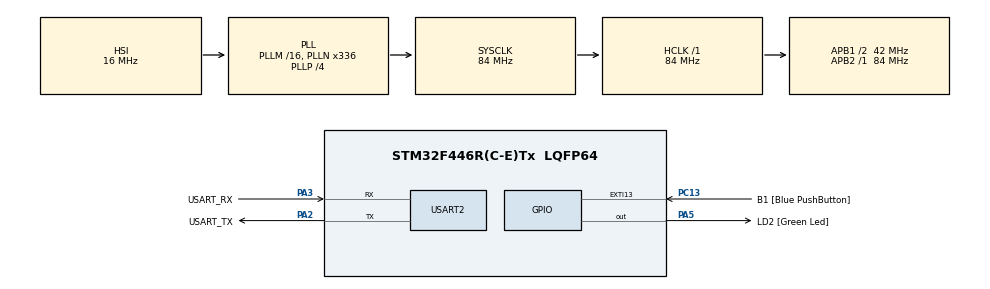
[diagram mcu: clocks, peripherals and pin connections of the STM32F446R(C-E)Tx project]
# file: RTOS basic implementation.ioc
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Dma.Request0=USART2_RX
Dma.Request1=USART2_TX
Dma.USART2_RX.0.Direction=DMA_PERIPH_TO_MEMORY
Dma.USART2_RX.0.FIFOMode=DMA_FIFOMODE_DISABLE
Dma.USART2_RX.0.Instance=DMA1_Stream5
Dma.USART2_RX.0.MemDataAlignment=DMA_MDATAALIGN_BYTE
Dma.USART2_RX.0.MemInc=DMA_MINC_ENABLE
Dma.USART2_RX.0.Mode=DMA_NORMAL
Dma.USART2_RX.0.PeriphDataAlignment=DMA_PDATAALIGN_BYTE
Dma.USART2_RX.0.PeriphInc=DMA_PINC_DISABLE
Dma.USART2_RX.0.Priority=DMA_PRIORITY_LOW
Dma.USART2_TX.1.Direction=DMA_MEMORY_TO_PERIPH
Dma.USART2_TX.1.FIFOMode=DMA_FIFOMODE_DISABLE
Dma.USART2_TX.1.Instance=DMA1_Stream6
Dma.USART2_TX.1.MemDataAlignment=DMA_MDATAALIGN_BYTE
Dma.USART2_TX.1.MemInc=DMA_MINC_ENABLE
Dma.USART2_TX.1.Mode=DMA_NORMAL
Dma.USART2_TX.1.PeriphDataAlignment=DMA_PDATAALIGN_BYTE
Dma.USART2_TX.1.PeriphInc=DMA_PINC_DISABLE
Dma.USART2_TX.1.Priority=DMA_PRIORITY_LOW
FREERTOS.Tasks01=defaultTask,24,128,StartDefaultTask,Default,NULL,Dynamic,NULL,NULL;UartTask,24,128,StartUartTask,Default,NULL,Dynamic,NULL,NULL;bootTask,40,128,StartBootTask,Default,NULL,Dynamic,NULL,NULL;idleTask,24,128,StartIdleTask,Default,NULL,Dynamic,NULL,NULL;ascentTask,24,128,StartAscentTask,Default,NULL,Dynamic,NULL,NULL;descentTask,24,128,StartDescentTask,Default,NULL,Dynamic,NULL,NULL;recoveryTask,24,128,StartRecoveryTask,Default,NULL,Dynamic,NULL,NULL
Mcu.Family=STM32F4
Mcu.Name=STM32F446R(C-E)Tx
Mcu.Package=LQFP64
NVIC.DMA1_Stream5_IRQn=true\:5\:0\:false\:false\:true\:true\:false\:true\:true
NVIC.DMA1_Stream6_IRQn=true\:5\:0\:false\:false\:true\:true\:false\:true\:true
NVIC.PriorityGroup=NVIC_PRIORITYGROUP_4
NVIC.USART2_IRQn=true\:5\:0\:false\:false\:true\:true\:true\:true\:true
PA13.GPIO_Label=TMS
PA13.Mode=Serial_Wire
PA13.Signal=SYS_JTMS-SWDIO
PA14.GPIO_Label=TCK
PA14.Mode=Serial_Wire
PA14.Signal=SYS_JTCK-SWCLK
PA2.GPIO_Label=USART_TX
PA2.Mode=Asynchronous
PA2.Signal=USART2_TX
PA3.GPIO_Label=USART_RX
PA3.Mode=Asynchronous
PA3.Signal=USART2_RX
PA5.GPIO_Label=LD2 [Green Led]
PA5.Signal=GPIO_Output
PB3.GPIO_Label=SWO
PB3.Signal=SYS_JTDO-SWO
PC13.GPIO_Label=B1 [Blue PushButton]
PC13.GPIO_ModeDefaultEXTI=GPIO_MODE_IT_FALLING
PC13.Signal=GPXTI13
PC14-OSC32_IN.Mode=LSE-External-Oscillator
PC14-OSC32_IN.Signal=RCC_OSC32_IN
PC15-OSC32_OUT.Mode=LSE-External-Oscillator
PC15-OSC32_OUT.Signal=RCC_OSC32_OUT
PH0-OSC_IN.Mode=HSE-External-Oscillator
PH0-OSC_IN.Signal=RCC_OSC_IN
PH1-OSC_OUT.Mode=HSE-External-Oscillator
PH1-OSC_OUT.Signal=RCC_OSC_OUT
ProjectManager.HeapSize=0x200
ProjectManager.StackSize=0x400
ProjectManager.TargetToolchain=STM32CubeIDE
RCC.48MHZClocksFreq_Value=84000000
RCC.AHBFreq_Value=84000000
RCC.APB1CLKDivider=RCC_HCLK_DIV2
RCC.APB1Freq_Value=42000000
RCC.APB1TimFreq_Value=84000000
RCC.APB2Freq_Value=84000000
RCC.APB2TimFreq_Value=84000000
RCC.CortexFreq_Value=84000000
RCC.FLatency-AdvancedSettings=FLASH_LATENCY_2
RCC.HCLKFreq_Value=84000000
RCC.HSE_VALUE=8000000
RCC.HSI_VALUE=16000000
RCC.PLLN=336
RCC.PLLP=RCC_PLLP_DIV4
RCC.SYSCLKFreq_VALUE=84000000
RCC.SYSCLKSource=RCC_SYSCLKSOURCE_PLLCLK
RCC.USBFreq_Value=168000000
RCC.VCOOutputFreq_Value=336000000
USART2.VirtualMode=VM_ASYNC
VP_FREERTOS_VS_CMSIS_V2.Mode=CMSIS_V2
board=NUCLEO-F446RE

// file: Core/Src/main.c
/* USER CODE BEGIN Header */
/**
  ******************************************************************************
  * @file           : main.c
  * @brief          : Main program body
  ******************************************************************************
  * @attention
  *
  * Copyright (c) 2025 STMicroelectronics.
  * All rights reserved.
  *
  * This software is licensed under terms that can be found in the LICENSE file
  * in the root directory of this software component.
  * If no LICENSE file comes with this software, it is provided AS-IS.
  *
  ******************************************************************************
  */
/* USER CODE END Header */
#include "main.h"
#include "cmsis_os.h"

/* USER CODE BEGIN Includes */
#include <stdio.h>

/* USER CODE END Includes */

UART_HandleTypeDef huart2;
DMA_HandleTypeDef hdma_usart2_rx;
DMA_HandleTypeDef hdma_usart2_tx;

/* Definitions for defaultTask */
osThreadId_t defaultTaskHandle;
const osThreadAttr_t defaultTask_attributes = {
  .name = "defaultTask",
  .stack_size = 128 * 4,
  .priority = (osPriority_t) osPriorityNormal,
};
/* Definitions for UartTask */
osThreadId_t UartTaskHandle;
const osThreadAttr_t UartTask_attributes = {
  .name = "UartTask",
  .stack_size = 128 * 4,
  .priority = (osPriority_t) osPriorityNormal,
};
/* Definitions for bootTask */
osThreadId_t bootTaskHandle;
const osThreadAttr_t bootTask_attributes = {
  .name = "bootTask",
  .stack_size = 128 * 4,
  .priority = (osPriority_t) osPriorityHigh,
};
/* Definitions for idleTask */
osThreadId_t idleTaskHandle;
const osThreadAttr_t idleTask_attributes = {
  .name = "idleTask",
  .stack_size = 128 * 4,
  .priority = (osPriority_t) osPriorityNormal,
};
/* Definitions for ascentTask */
osThreadId_t ascentTaskHandle;
const osThreadAttr_t ascentTask_attributes = {
  .name = "ascentTask",
  .stack_size = 128 * 4,
  .priority = (osPriority_t) osPriorityNormal,
};
/* Definitions for descentTask */
osThreadId_t descentTaskHandle;
const osThreadAttr_t descentTask_attributes = {
  .name = "descentTask",
  .stack_size = 128 * 4,
  .priority = (osPriority_t) osPriorityNormal,
};
/* Definitions for recoveryTask */
osThreadId_t recoveryTaskHandle;
const osThreadAttr_t recoveryTask_attributes = {
  .name = "recoveryTask",
  .stack_size = 128 * 4,
  .priority = (osPriority_t) osPriorityNormal,
};
/* USER CODE BEGIN PV */
volatile uint32_t buttonPressTime = 0; // Tracks button press time
volatile uint8_t buttonPressed = 0;   // Tracks if button was pressed

/* USER CODE END PV */

void SystemClock_Config(void);
static void MX_GPIO_Init(void);
static void MX_DMA_Init(void);
static void MX_USART2_UART_Init(void);
void StartDefaultTask(void *argument);
void StartUartTask(void *argument);
void StartBootTask(void *argument);
void StartIdleTask(void *argument);
void StartAscentTask(void *argument);
void StartDescentTask(void *argument);
void StartRecoveryTask(void *argument);

/* USER CODE BEGIN 0 */
typedef enum {
    BOOT,
    IDLE,
    TELEMETRY,
    ASCENT,
    DESCENT,
    RECOVERY
} SystemState_t;

volatile SystemState_t systemState = BOOT;
volatile uint32_t buttonPressStartTime = 0;
volatile uint8_t buttonPressCount = 0;

int __io_putchar(int ch) {
    HAL_UART_Transmit(&huart2, (uint8_t *)&ch, 1, HAL_MAX_DELAY);
    return ch;
}

uint8_t isButtonPressed()
{
    return (HAL_GPIO_ReadPin(B1_GPIO_Port, B1_Pin) == GPIO_PIN_RESET);
}

void handleButtonPress()
{
    if (isButtonPressed())
    {
        if (!buttonPressed) // If button was not already pressed
        {
            buttonPressTime = HAL_GetTick();
            buttonPressed = 1;
        }
    }
    else
    {
        if (buttonPressed && HAL_GetTick() - buttonPressTime >= 2000) // 2-second press
        {
            if (systemState == BOOT)
            {
                systemState = IDLE; // Transition from BOOT to IDLE
            }
        }
        else if (buttonPressed && HAL_GetTick() - buttonPressTime < 2000) // Single press
        {
            if (systemState == IDLE)
            {
                systemState = TELEMETRY;
            }
            else if (systemState == TELEMETRY)
            {
                systemState = ASCENT;
            }
            else if (systemState == ASCENT)
            {
                systemState = DESCENT;
            }
            else if (systemState == DESCENT)
            {
                systemState = RECOVERY;
            }
        }
        buttonPressed = 0; // Reset button state
    }
}

/* USER CODE END 0 */

int main(void)
{

  /* MCU Configuration--------------------------------------------------------*/

  /* Reset of all peripherals, Initializes the Flash interface and the Systick. */
  HAL_Init();

  /* Configure the system clock */
  SystemClock_Config();

  /* Initialize all configured peripherals */
  MX_GPIO_Init();
  MX_DMA_Init();
  MX_USART2_UART_Init();

  /* Init scheduler */
  osKernelInitialize();

  /* Create the thread(s) */
  /* creation of defaultTask */
  defaultTaskHandle = osThreadNew(StartDefaultTask, NULL, &defaultTask_attributes);

  /* creation of UartTask */
  UartTaskHandle = osThreadNew(StartUartTask, NULL, &UartTask_attributes);

  /* creation of bootTask */
  bootTaskHandle = osThreadNew(StartBootTask, NULL, &bootTask_attributes);

  /* creation of idleTask */
  idleTaskHandle = osThreadNew(StartIdleTask, NULL, &idleTask_attributes);

  /* creation of ascentTask */
  ascentTaskHandle = osThreadNew(StartAscentTask, NULL, &ascentTask_attributes);

  /* creation of descentTask */
  descentTaskHandle = osThreadNew(StartDescentTask, NULL, &descentTask_attributes);

  /* creation of recoveryTask */
  recoveryTaskHandle = osThreadNew(StartRecoveryTask, NULL, &recoveryTask_attributes);

  /* Start scheduler */
  osKernelStart();

  /* We should never get here as control is now taken by the scheduler */

  /* Infinite loop */
  while (1)
  {

  }
}

void SystemClock_Config(void)
{
  RCC_OscInitTypeDef RCC_OscInitStruct = {0};
  RCC_ClkInitTypeDef RCC_ClkInitStruct = {0};

  /** Configure the main internal regulator output voltage
  */
  __HAL_RCC_PWR_CLK_ENABLE();
  __HAL_PWR_VOLTAGESCALING_CONFIG(PWR_REGULATOR_VOLTAGE_SCALE3);

  /** Initializes the RCC Oscillators according to the specified parameters
  * in the RCC_OscInitTypeDef structure.
  */
  RCC_OscInitStruct.OscillatorType = RCC_OSCILLATORTYPE_HSI;
  RCC_OscInitStruct.HSIState = RCC_HSI_ON;
  RCC_OscInitStruct.HSICalibrationValue = RCC_HSICALIBRATION_DEFAULT;
  RCC_OscInitStruct.PLL.PLLState = RCC_PLL_ON;
  RCC_OscInitStruct.PLL.PLLSource = RCC_PLLSOURCE_HSI;
  RCC_OscInitStruct.PLL.PLLM = 16;
  RCC_OscInitStruct.PLL.PLLN = 336;
  RCC_OscInitStruct.PLL.PLLP = RCC_PLLP_DIV4;
  RCC_OscInitStruct.PLL.PLLQ = 2;
  RCC_OscInitStruct.PLL.PLLR = 2;
  if (HAL_RCC_OscConfig(&RCC_OscInitStruct) != HAL_OK)
  {
    Error_Handler();
  }

  /** Initializes the CPU, AHB and APB buses clocks
  */
  RCC_ClkInitStruct.ClockType = RCC_CLOCKTYPE_HCLK|RCC_CLOCKTYPE_SYSCLK
                              |RCC_CLOCKTYPE_PCLK1|RCC_CLOCKTYPE_PCLK2;
  RCC_ClkInitStruct.SYSCLKSource = RCC_SYSCLKSOURCE_PLLCLK;
  RCC_ClkInitStruct.AHBCLKDivider = RCC_SYSCLK_DIV1;
  RCC_ClkInitStruct.APB1CLKDivider = RCC_HCLK_DIV2;
  RCC_ClkInitStruct.APB2CLKDivider = RCC_HCLK_DIV1;

  if (HAL_RCC_ClockConfig(&RCC_ClkInitStruct, FLASH_LATENCY_2) != HAL_OK)
  {
    Error_Handler();
  }
}

static void MX_USART2_UART_Init(void)
{

  huart2.Instance = USART2;
  huart2.Init.BaudRate = 115200;
  huart2.Init.WordLength = UART_WORDLENGTH_8B;
  huart2.Init.StopBits = UART_STOPBITS_1;
  huart2.Init.Parity = UART_PARITY_NONE;
  huart2.Init.Mode = UART_MODE_TX_RX;
  huart2.Init.HwFlowCtl = UART_HWCONTROL_NONE;
  huart2.Init.OverSampling = UART_OVERSAMPLING_16;
  if (HAL_UART_Init(&huart2) != HAL_OK)
  {
    Error_Handler();
  }

}

static void MX_DMA_Init(void)
{

  /* DMA controller clock enable */
  __HAL_RCC_DMA1_CLK_ENABLE();

  /* DMA interrupt init */
  /* DMA1_Stream5_IRQn interrupt configuration */
  HAL_NVIC_SetPriority(DMA1_Stream5_IRQn, 5, 0);
  HAL_NVIC_EnableIRQ(DMA1_Stream5_IRQn);
  /* DMA1_Stream6_IRQn interrupt configuration */
  HAL_NVIC_SetPriority(DMA1_Stream6_IRQn, 5, 0);
  HAL_NVIC_EnableIRQ(DMA1_Stream6_IRQn);

}

static void MX_GPIO_Init(void)
{
  GPIO_InitTypeDef GPIO_InitStruct = {0};

  /* GPIO Ports Clock Enable */
  __HAL_RCC_GPIOC_CLK_ENABLE();
  __HAL_RCC_GPIOH_CLK_ENABLE();
  __HAL_RCC_GPIOA_CLK_ENABLE();
  __HAL_RCC_GPIOB_CLK_ENABLE();

  /*Configure GPIO pin Output Level */
  HAL_GPIO_WritePin(LD2_GPIO_Port, LD2_Pin, GPIO_PIN_RESET);

  /*Configure GPIO pin : B1_Pin */
  GPIO_InitStruct.Pin = B1_Pin;
  GPIO_InitStruct.Mode = GPIO_MODE_IT_FALLING;
  GPIO_InitStruct.Pull = GPIO_NOPULL;
  HAL_GPIO_Init(B1_GPIO_Port, &GPIO_InitStruct);

  /*Configure GPIO pin : LD2_Pin */
  GPIO_InitStruct.Pin = LD2_Pin;
  GPIO_InitStruct.Mode = GPIO_MODE_OUTPUT_PP;
  GPIO_InitStruct.Pull = GPIO_NOPULL;
  GPIO_InitStruct.Speed = GPIO_SPEED_FREQ_LOW;
  HAL_GPIO_Init(LD2_GPIO_Port, &GPIO_InitStruct);

}

void StartDefaultTask(void *argument)
{
  for(;;)
  {
    osDelay(1);
  }
}

void StartUartTask(void *argument)
{
  /* USER CODE BEGIN StartUartTask */
	  const char *telemetryMessage = "Telemetry Data\r\n";

  /* Infinite loop */
  for(;;)
  {
	    handleButtonPress();

	    if (systemState == TELEMETRY) // Telemetry state
	    {
	      printf(telemetryMessage);
	      osDelay(1000); // Send telemetry every second
	    }
	    else
	    {
	      osDelay(100); // Check periodically
	    }

  }
  /* USER CODE END StartUartTask */
}

void StartBootTask(void *argument)
{
  /* USER CODE BEGIN StartBootTask */
	HAL_GPIO_WritePin(LD2_GPIO_Port, LD2_Pin, GPIO_PIN_SET); // Example: Reset an LED
    printf("Boot State\r\n");

	HAL_Delay(100); // Simulate boot process
    printf("Initializing sensors and actuators \r\n");

    handleButtonPress();

    if (systemState == IDLE)
    {
      osThreadTerminate(NULL); // Terminate Boot Task after transition
    }

    osDelay(100);

  /* Infinite loop */
  for(;;)
  {

    osDelay(1);
  }
  /* USER CODE END StartBootTask */
}

void StartIdleTask(void *argument)
{
  /* USER CODE BEGIN StartIdleTask */
  /* Infinite loop */
  for(;;)
  {
	  handleButtonPress();

	      if (systemState == IDLE) // Idle state
	      {
	        printf("Idle State: All sensors and actuators initialized\r\n");
	        StartUartTask(NULL); // Start UART task to send telemetry
	      }

	      if (systemState != IDLE) // Exit Idle state
	      {
	        osThreadTerminate(NULL); // Terminate Idle Task
	      }

	      osDelay(100);

  }
  /* USER CODE END StartIdleTask */
}

void StartAscentTask(void *argument)
{
  /* USER CODE BEGIN StartAscentTask */
  /* Infinite loop */
  for(;;)
  {
	    handleButtonPress();

	    if (systemState == ASCENT)
	    {
	      printf("Ascent Telemetry Data\r\n");
	      osDelay(1000);
	    }
	    else
	    {
	      osDelay(100);
	    }
  }
  /* USER CODE END StartAscentTask */
}

void StartDescentTask(void *argument)
{
  /* USER CODE BEGIN StartDescentTask */

  /* Infinite loop */
  for(;;)

  {
	    handleButtonPress();

	    if (systemState == DESCENT)
	    {
	      // Simulate actions during descent
	      HAL_UART_Transmit(&huart2, (uint8_t *)"Release drogue parachute\r\n", 26, HAL_MAX_DELAY);
	      osDelay(2000);

	      HAL_UART_Transmit(&huart2, (uint8_t *)"Payload ejection\r\n", 18, HAL_MAX_DELAY);
	      osDelay(2000);

	      HAL_UART_Transmit(&huart2, (uint8_t *)"Deploy main parachute\r\n", 24, HAL_MAX_DELAY);
	      osDelay(2000);

	      // Continue sending descent telemetry without waiting for actions
	      while (systemState == DESCENT)
	      {
	        printf("Descent Telemetry Data\r\n");
	        osDelay(1000); // Send telemetry every second
	      }
	    }
	    else
	    {
	      osDelay(100);
	    }
  }
  /* USER CODE END StartDescentTask */
}

void StartRecoveryTask(void *argument)
{
  /* USER CODE BEGIN StartRecoveryTask */
  /* Infinite loop */
  for(;;)
  {
	    handleButtonPress();

	    if (systemState == RECOVERY)
	    {
	      HAL_UART_Transmit(&huart2, (uint8_t *)"Shortened Telemetry\r\n", 22, HAL_MAX_DELAY);

	      HAL_GPIO_TogglePin(LD2_GPIO_Port, LD2_Pin);
	      osDelay(1000);
	    }
	    else
	    {
	      osDelay(100);
	    }
  }
  /* USER CODE END StartRecoveryTask */
}

void Error_Handler(void)
{
  __disable_irq();
  while (1)
  {
  }
}
